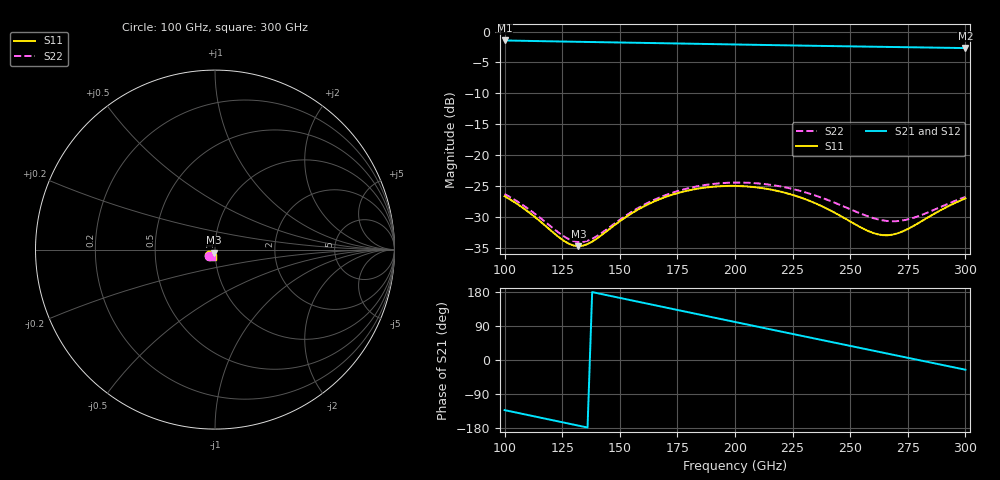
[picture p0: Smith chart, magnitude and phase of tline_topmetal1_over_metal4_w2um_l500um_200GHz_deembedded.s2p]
! Created with skrf 2.2.0 (http://scikit-rf.org).
# GHz S DB R 50.0
! Port[1] = P1
! Port[2] = P2
!freq dBS11 angS11 dBS21 angS21 dBS12 angS12 dBS22 angS22
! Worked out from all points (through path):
!   101 points, 100 GHz to 300 GHz, reference 50 ohm
!   highest |S21| = -1.44 dB at 100 GHz (marker M1); lowest = -2.7 dB at 300 GHz (marker M2)
!   group delay of S21, straight-line fit = 3.52 ps
!   lowest |S11| = -34.7 dB at 132 GHz (marker M3), VSWR 1.04, Z = 49.2 - j1.65 ohm
!   |S11| at or under -10 dB: start of sweep to end of sweep
!   |S22| runs from -34.1 to -24.4 dB; largest |S21 - S12| = 8.9e-14
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100  -26.66 -135.7  -1.44 -132.2  -1.44 -132.2  -26.30 -134.7
116  -30.91 -141.6  -1.55 -152.7  -1.55 -152.7  -30.33 -140.7
126  -33.95 -129.5  -1.62 -165.5  -1.62 -165.5  -33.22 -129.9
132  -34.75 -113.7  -1.65 -173.1  -1.65 -173.1  -34.08 -115.5
134  -34.66 -108.1  -1.67 -175.7  -1.67 -175.7  -34.06 -110.2
140  -33.53 -94.4  -1.70 176.6  -1.70 176.6  -33.13 -96.5
150  -30.72 -85.8  -1.77 163.9  -1.77 163.9  -30.47 -86.8
158  -28.80 -87.2  -1.82 153.7  -1.82 153.7  -28.56 -87.2
168  -27.04 -93.3  -1.88 141.0  -1.88 141.0  -26.75 -92.5
184  -25.43 -107.1  -1.98 120.6  -1.98 120.6  -25.03 -105.4
200  -24.99 -122.3  -2.09 100.3  -2.09 100.3  -24.45 -119.7
208  -25.17 -129.6  -2.14 90.2  -2.14 90.2  -24.53 -126.6
216  -25.61 -136.5  -2.19 80.1  -2.19 80.1  -24.85 -133.1
224  -26.34 -142.6  -2.24 70.0  -2.24 70.0  -25.40 -138.8
234  -27.66 -148.4  -2.30 57.4  -2.30 57.4  -26.44 -144.2
246  -29.89 -149.8  -2.37 42.3  -2.37 42.3  -28.13 -146.4
258  -32.32 -139.5  -2.44 27.2  -2.44 27.2  -29.95 -140.7
264  -32.96 -128.7  -2.47 19.6  -2.47 19.6  -30.56 -134.1
268  -32.91 -120.7  -2.49 14.6  -2.49 14.6  -30.72 -128.8
276  -31.77 -107.4  -2.54 4.5  -2.54 4.5  -30.32 -118.5
284  -30.04 -101.0  -2.58 -5.5  -2.58 -5.5  -29.24 -111.5
300  -27.02 -102.4  -2.67 -25.6  -2.67 -25.6  -26.77 -109.2
